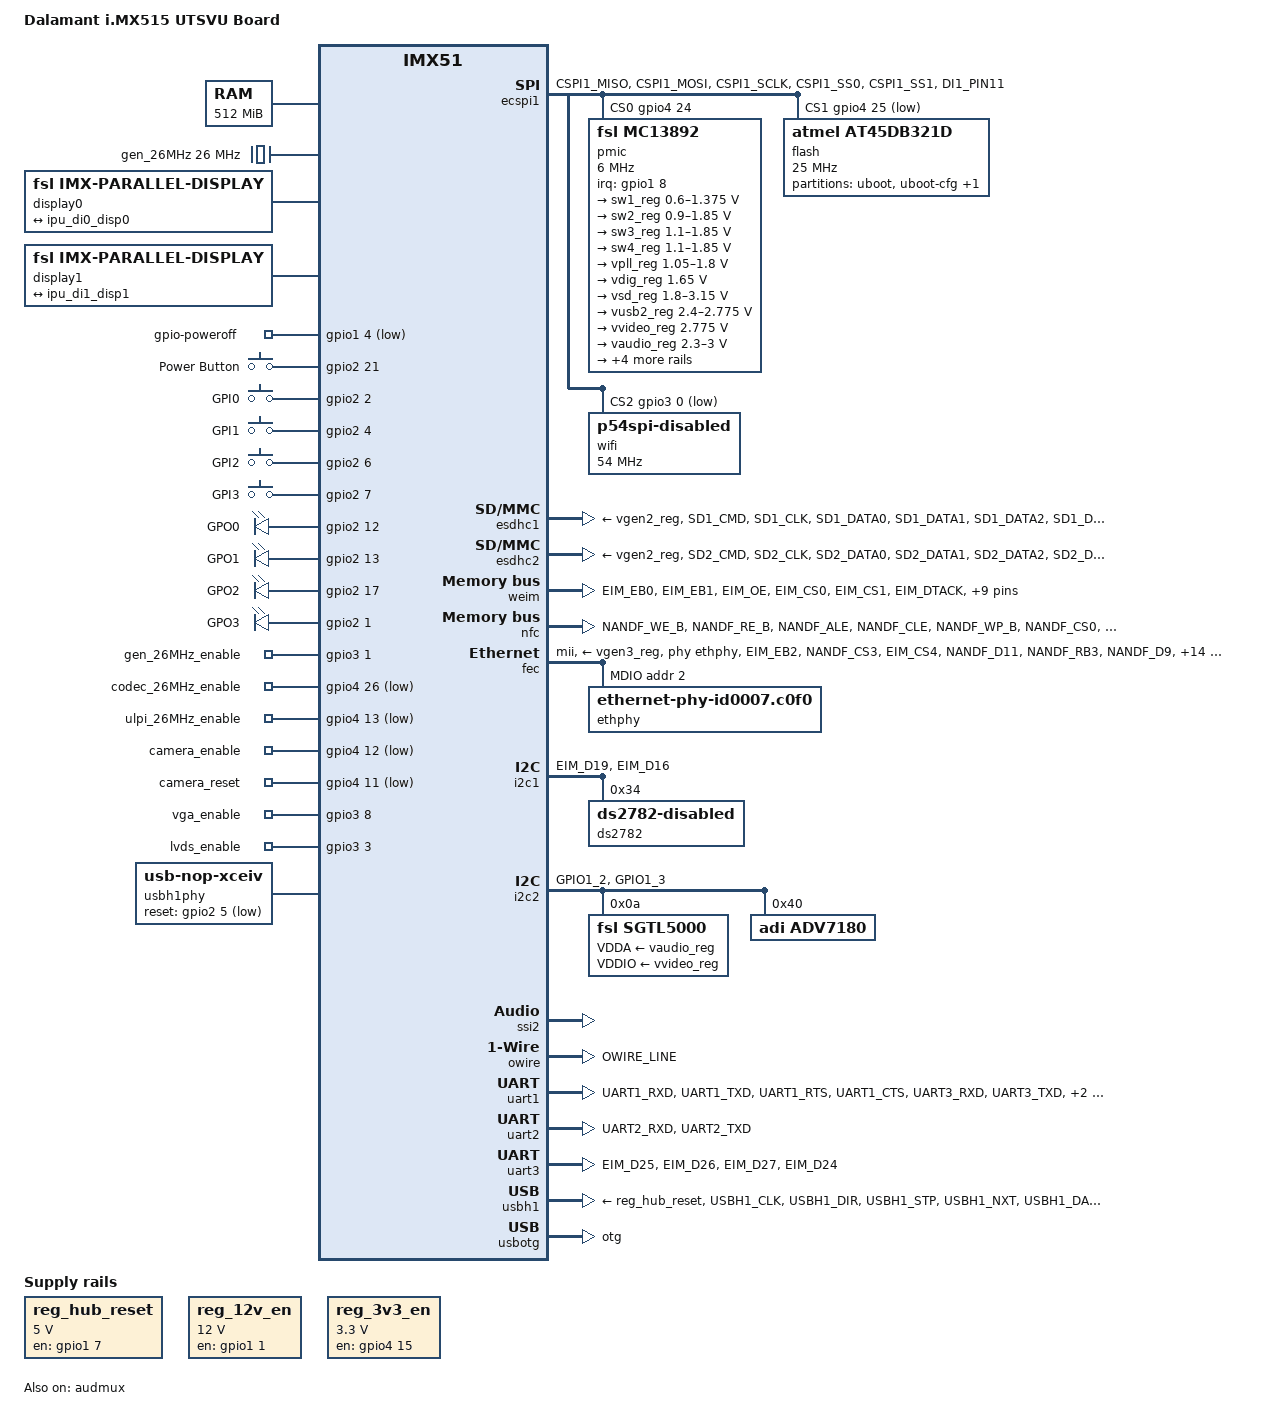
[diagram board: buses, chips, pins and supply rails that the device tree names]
/*
 *
 */

/dts-v1/;
#include "imx51.dtsi"
#include <dt-bindings/sound/fsl-imx-audmux.h>

/ {
	model = "Dalamant i.MX515 UTSVU Board";
	compatible = "fsl,imx51-utsvu", "fsl,imx51";

	/* Board critical gpio pins config */
	pinctrl-names = "default";
	pinctrl-0 = <&pinctrl_brd_ctrl>;

	chosen {
		bootargs = "
console=tty0 console=ttymxc0,115200 bootdelay=1 root=/dev/nfs rw
ip=192.168.5.101:192.168.5.222:192.168.5.222:255.255.255.0:imx51dev:eth0:off
nfsroot=192.168.5.222:/cimc/root/armv7a-neon/exports,v3,tcp";
		stdout-path = &uart1;
	};

	memory {
		reg = <0x90000000 0x20000000>;
	};

	clocks {
		/* I.MX515 CPU Clock sources */
		ckil  { clock-frequency = <32768>; };
		ckih1 { clock-frequency = <0>; };
		ckih2 { clock-frequency = <0>; };
		osc   { clock-frequency = <24000000>; };

		/* Board clock sources */
		gen_26MHz: gen_26MHz {
			compatible = "fixed-clock";
			#clock-cells = <0>;
			clock-output-names = "gen_26MHz";
			clock-frequency = <26000000>;
		};
	};

	display0: display@di0 { /* LVDS */
		compatible = "fsl,imx-parallel-display";
		interface-pix-fmt = "rgb24";
		pinctrl-names = "default";
		pinctrl-0 = <&pinctrl_ipu_disp1>;
		status = "okay"; // "disabled";

		display-timings {
			native-mode = <&mfpi>;
			/* Timing from 7.1 in datasheet */
			mfpi: lvds_wsvga { /* WSVGA: 1024x600@75Hz */
				/* clock-frequency = <66500000>; 92Hz - not in [60Hz...80Hz] range */
				clock-frequency = <44333333>; /* 61Hz - 53.99MHz reqired for typical 75Hz */
				hsync-len = <32>;	hfront-porch = <48>;	hactive = <1024>;	hback-porch = <80>;
				hsync-active = <0>;	/* negative, whole line 1184 */
				vsync-len = <1>;	vfront-porch = <3>;	vactive = <600>;	vback-porch = <4>;
				vsync-active = <0>;	/* negative, whole frame 608 */
				de-active = <0>;	pixelclk-active = <1>;
			};
		};

		port {
			display0_in: endpoint {
				remote-endpoint = <&ipu_di0_disp0>;
			};
		};
	};

	display1: display@di1 { /* VGA */
		compatible = "fsl,imx-parallel-display";
		interface-pix-fmt = "rgb565";
		pinctrl-names = "default";
		pinctrl-0 = <&pinctrl_ipu_disp2>;
		status = "okay"; // "disabled";

		display-timings {
			native-mode = <&sxga75>;
			/* Timing from http://wwww.tinyvga.com/vga-timing */
			vga60: vdac_vga60 { /* VGA: 640x480@63.5Hz 31.6KHz - checked for work on CRT and LCD monitors */
				clock-frequency = <26600000>; /* 25.175MHz required */
				hsync-len = <64>;	hfront-porch = <16>;	hactive = <640>;	hback-porch = <120>;
				hsync-active = <0>;	/* negative, whole line 840 */
				vsync-len = <3>;	vfront-porch = <2>;	vactive = <480>;	vback-porch = <15>;
				vsync-active = <0>;	/* negative, whole frame 500 */
				de-active = <0>;	pixelclk-active = <1>;
			};
			vga75: vdac_vga75 { /* VGA: 640x480@79.3Hz 39.6KHz - checked for work on CRT only */
				clock-frequency = <33250000>; /* 31.5MHz required */
				hsync-len = <64>;	hfront-porch = <16>;	hactive = <640>;	hback-porch = <120>;
				hsync-active = <0>;	/* negative, whole line 840 */
				vsync-len = <3>;	vfront-porch = <2>;	vactive = <480>;	vback-porch = <15>;
				vsync-active = <0>;	/* negative, whole frame 500 */
				de-active = <0>;	pixelclk-active = <1>;
			};
			svga56: vdac_svga56 { /* SVGA: 800x600@52.0Hz 32.4KHz - checked for work on CRT and LCD monitors */
				clock-frequency = <33250000>; /* 36MHz required */
				hsync-len = <72>;	hfront-porch = <24>;	hactive = <800>;	hback-porch = <128>;
				hsync-active = <1>;	/* positive, whole line 1024 */
				vsync-len = <2>;	vfront-porch = <2>;	vactive = <600>;	vback-porch = <21>;
				vsync-active = <1>;	/* positive, whole frame 636 */
				de-active = <0>;	pixelclk-active = <1>;
			};
			svga100: vdac_svga100 { /* SVGA: 800x600@97.8Hz 62.0KHz - checked for work on CRT only */
				clock-frequency = <66500000>; /* 68.18MHz required */
				hsync-len = <88>;	hfront-porch = <48>;	hactive = <800>;	hback-porch = <136>;
				hsync-active = <1>;	/* positive, whole line 1072 */
				vsync-len = <3>;	vfront-porch = <2>;	vactive = <600>;	vback-porch = <31>;
				vsync-active = <1>;	/* positive, whole frame 636 */
				de-active = <0>;	pixelclk-active = <1>;
			};
			xga60: vdac_xga60 { /* XGA: 1024x768@61.5Hz 49.4KHz - checked for work on CRT and LCD monitors */
				clock-frequency = <66500000>; /* 65MHz required */
				hsync-len = <136>;	hfront-porch = <24>;	hactive = <1024>;	hback-porch = <160>;
				hsync-active = <0>;	/* negative, whole line 1344 */
				vsync-len = <6>;	vfront-porch = <3>;	vactive = <768>;	vback-porch = <29>;
				vsync-active = <0>;	/* negative, whole frame 806 */
				de-active = <0>;	pixelclk-active = <1>;
			};
			xga70: vdac_xga70 { /* XGA: 1024x768@62.2Hz 50.0KHz - checked for work on CRT and LCD monitors */
				clock-frequency = <66500000>; /* 75MHz required */
				hsync-len = <136>;	hfront-porch = <24>;	hactive = <1024>;	hback-porch = <144>;
				hsync-active = <0>;	/* negative, whole line 1328 */
				vsync-len = <6>;	vfront-porch = <3>;	vactive = <768>;	vback-porch = <29>;
				vsync-active = <0>;	/* negative, whole frame 806 */
				de-active = <0>;	pixelclk-active = <1>;
			};
			sxga60: vdac_sxga60 { /* SXGA: 1280x1024@74.1Hz 78.8KHz - checked for work on CRT and LCD monitors */
				clock-frequency = <133000000>; /* 108MHz required */
				hsync-len = <112>;	hfront-porch = <48>;	hactive = <1280>;	hback-porch = <248>;
				hsync-active = <1>;	/* positive, whole line 1688 */
				vsync-len = <3>;	vfront-porch = <2>;	vactive = <1024>;	vback-porch = <37>;
				vsync-active = <1>;	/* positive, whole frame 1066 */
				de-active = <0>;	pixelclk-active = <1>;
			};
			sxga75: vdac_sxga75 { /* SXGA: 1280x1024@74.1Hz 78.8KHz - checked for work on CRT and LCD monitors */
				clock-frequency = <133000000>; /* 135Mhz required */
				hsync-len = <144>;	hfront-porch = <16>;	hactive = <1280>;	hback-porch = <248>;
				hsync-active = <1>;	/* positive, whole line 1688 */
				vsync-len = <3>;	vfront-porch = <2>;	vactive = <1024>;	vback-porch = <37>;
				vsync-active = <1>;	/* positive, whole frame 1066 */
				de-active = <0>;	pixelclk-active = <1>;
			};
			sxgap60: vdac_sxgap60 { /* SXGA+: 1400x1050@65.2Hz 70.7KHz - checked for work on CRT and LCD monitors */
				clock-frequency = <133000000>; /* 122.61Mhz required */
				hsync-len = <152>;	hfront-porch = <88>;	hactive = <1400>;	hback-porch = <240>;
				hsync-active = <0>;	/* negative, whole line 1880 */
				vsync-len = <3>;	vfront-porch = <2>;	vactive = <1050>;	vback-porch = <32>;
				vsync-active = <1>;	/* positive, whole frame 1066 */
				de-active = <0>;	pixelclk-active = <1>;
			};
			sxgap72: vdac_sxgap72 { /* SXGA+: 1400x1050@64.3Hz 70.2KHz - checked for work on CRT and LCD monitors */
				clock-frequency = <133000000>; /* 149.34Mhz required */
				hsync-len = <152>;	hfront-porch = <96>;	hactive = <1400>;	hback-porch = <248>;
				hsync-active = <0>;	/* negative, whole line 1896 */
				vsync-len = <3>;	vfront-porch = <2>;	vactive = <1050>;	vback-porch = <39>;
				vsync-active = <1>;	/* positive, whole frame 1066 */
				de-active = <0>;	pixelclk-active = <1>;
			};
			uxga60: vdac_uxga60 { /* UXGA: 1600x1200@49.3Hz 61.6KHz - checked for work on CRT and LCD monitors */
				clock-frequency = <133000000>; /* 162Mhz required */
				hsync-len = <192>;	hfront-porch = <64>;	hactive = <1600>;	hback-porch = <304>;
				hsync-active = <1>;	/* positive, whole line 1896 */
				vsync-len = <3>;	vfront-porch = <2>;	vactive = <1200>;	vback-porch = <45>;
				vsync-active = <1>;	/* positive, whole frame 1066 */
				de-active = <0>;	pixelclk-active = <1>;
			};
		};

		port {
			display1_in: endpoint {
				remote-endpoint = <&ipu_di1_disp1>;
			};
		};
	};

	gpio-poweroff {
		compatible = "gpio-poweroff";
		pinctrl-0 = <&pinctrl_gpio_poweroff>;
		pinctrl-names = "default";
		gpios = <&gpio1 4 GPIO_ACTIVE_LOW>;
	};


	gpio-keys {
		compatible = "gpio-keys";
		pinctrl-names = "default";
		pinctrl-0 = <&pinctrl_gpio_keys>;

		power {
			label = "Power Button";
			gpios = <&gpio2 21 GPIO_ACTIVE_HIGH>;
			linux,code = <KEY_POWER>;
			wakeup-source;
		};

		/* General purpose inputs */
		gpi0 {
			label = "GPI0";
			gpios = <&gpio2 2 GPIO_ACTIVE_HIGH>;
			linux,code = <KEY_POWER>;
		};
		gpi1 {
			label = "GPI1";
			gpios = <&gpio2 4 GPIO_ACTIVE_HIGH>;
			linux,code = <KEY_POWER>;
		};
		gpi2 {
			label = "GPI2";
			gpios = <&gpio2 6 GPIO_ACTIVE_HIGH>;
			linux,code = <KEY_POWER>;
		};
		gpi3 {
			label = "GPI3";
			gpios = <&gpio2 7 GPIO_ACTIVE_HIGH>;
			linux,code = <KEY_POWER>;
		};
	};

	leds {
		compatible = "gpio-leds";
		pinctrl-names = "default";
		pinctrl-0 = <&pinctrl_gpio_leds>;

		/* General purpose outputs */
		gpo0 {
			label = "GPO0";
			gpios = <&gpio2 12 GPIO_ACTIVE_HIGH>;
		};
		gpo1 {
			label = "GPO1";
			gpios = <&gpio2 13 GPIO_ACTIVE_HIGH>;
		};
		gpo2 {
			label = "GPO2";
			gpios = <&gpio2 17 GPIO_ACTIVE_HIGH>;
		};
		gpo3 {
			label = "GPO3";
			gpios = <&gpio2 1 GPIO_ACTIVE_HIGH>;
		};

		/* 26MHz clock domain */
		gen-26MHz-en {
			label = "gen_26MHz_enable";
			gpios = <&gpio3 1 GPIO_ACTIVE_HIGH>;
			default-state = "on";
		};
		codec-clk-en {
			label = "codec_26MHz_enable";
			gpios = <&gpio4 26 GPIO_ACTIVE_LOW>;
			default-state = "on";
		};
		ulpi-clk-en {
			label = "ulpi_26MHz_enable";
			gpios = <&gpio4 13 GPIO_ACTIVE_LOW>;
			default-state = "on";
		};

		/* Power down and reset switches */
		cam-en {
			label = "camera_enable";
			gpios = <&gpio4 12 GPIO_ACTIVE_LOW>;
			default-state = "on";
		};
		cam-rst {
			label = "camera_reset";
			gpios = <&gpio4 11 GPIO_ACTIVE_LOW>;
			default-state = "on";
		};
		vga-en {
			label = "vga_enable";
			gpios = <&gpio3 8 GPIO_ACTIVE_HIGH>;
			default-state = "on";
		};
		lvds-en {
			label = "lvds_enable";
			gpios = <&gpio3 3 GPIO_ACTIVE_HIGH>;
			default-state = "on";
		};
	};

	usbphy { /* USB ULPI interface */
		#address-cells = <1>;
		#size-cells = <0>;
		compatible = "simple-bus";

		usbh1phy: usbh1phy@0 { /* USB PHY chip*/
			compatible = "usb-nop-xceiv";
			pinctrl-names = "default";
			pinctrl-0 = <&pinctrl_usbh1reg>;
			reg = <0>;
			clocks = <&gen_26MHz>;
			clock-names = "gen_26MHz";
			reset-gpios = <&gpio2 5 GPIO_ACTIVE_LOW>;
		};
	};

	regulators {
		compatible = "simple-bus";
		#address-cells = <1>;
		#size-cells = <0>;

		reg_hub_reset: regulator@0 { /* USB PHY reset */
			compatible = "regulator-fixed";
			pinctrl-names = "default";
			pinctrl-0 = <&pinctrl_usbotgreg>;
			regulator-name = "hub_reset";
			regulator-min-microvolt = <5000000>;
			regulator-max-microvolt = <5000000>;
			gpio = <&gpio1 7 GPIO_ACTIVE_HIGH>;
			enable-active-high;
		};

		reg_12v_en: sw_12v_en@1 { /* 12V enabler */
			compatible = "regulator-fixed";
			regulator-name = "12V";
			regulator-min-microvolt = <12000000>;
			regulator-max-microvolt = <12000000>;
			gpio = <&gpio1 1 GPIO_ACTIVE_HIGH>;
			enable-active-high;
			regulator-always-on;
		};

		reg_3v3_en: sw_3v3_en@2 { /* 3,3V enabler */
			compatible = "regulator-fixed";
			regulator-name = "3,3V";
			regulator-min-microvolt = <3300000>;
			regulator-max-microvolt = <3300000>;
			gpio = <&gpio4 15 GPIO_ACTIVE_HIGH>;
			enable-active-high;
			regulator-always-on;
		};
	};

	sound {
		pinctrl-names = "default";
		pinctrl-0 = <&pinctrl_sound>;
		compatible = "fsl,imx51-utsvu-sgtl5000",
			     "fsl,imx-audio-sgtl5000";
		model = "imx51-utsvu-sgtl5000";
		ssi-controller = <&ssi2>;
		audio-codec = <&sgtl5000>;
		audio-routing =
			"MIC_IN", "Mic Jack",
			"Mic Jack", "Mic Bias",
			"Headphone Jack", "HP_OUT";
		mux-int-port = <2>;
		mux-ext-port = <3>;
	};
};

&ipu_di0_disp0 {
	remote-endpoint = <&display0_in>;
};

&ipu_di1_disp1 {
	remote-endpoint = <&display1_in>;
};

&audmux {
	status = "okay";
};

&ecspi1 { /* Serial Peripherial Interface - Base Board */
	pinctrl-names = "default";
	pinctrl-0 = <&pinctrl_ecspi1>;
	fsl,spi-num-chipselects = <3>;
	cs-gpios =	<&gpio4 24 GPIO_ACTIVE_HIGH>, /* PMIC */
			<&gpio4 25 GPIO_ACTIVE_LOW>,  /* Codec */
			<&gpio3 0  GPIO_ACTIVE_LOW>;  /* Extension board */
	status = "okay";

	pmic: mc13892@0 { /* PMIC */
		compatible = "fsl,mc13892";
		pinctrl-names = "default";
		pinctrl-0 = <&pinctrl_pmic>;
		spi-max-frequency = <6000000>;
		spi-cs-high;
		reg = <0>;
		interrupt-parent = <&gpio1>;
		interrupts = <8 IRQ_TYPE_LEVEL_HIGH>;
		fsl,mc13xxx-uses-rtc;

		regulators {
			sw1_reg: sw1 {
				regulator-min-microvolt = <600000>;
				regulator-max-microvolt = <1375000>;
				regulator-boot-on;
				regulator-always-on;
			};

			sw2_reg: sw2 {
				regulator-min-microvolt = <900000>;
				regulator-max-microvolt = <1850000>;
				regulator-boot-on;
				regulator-always-on;
			};

			sw3_reg: sw3 {
				regulator-min-microvolt = <1100000>;
				regulator-max-microvolt = <1850000>;
				regulator-boot-on;
				regulator-always-on;
			};

			sw4_reg: sw4 {
				regulator-min-microvolt = <1100000>;
				regulator-max-microvolt = <1850000>;
				regulator-boot-on;
				regulator-always-on;
			};

			vpll_reg: vpll {
				regulator-min-microvolt = <1050000>;
				regulator-max-microvolt = <1800000>;
				regulator-boot-on;
				regulator-always-on;
			};

			vdig_reg: vdig {
				regulator-min-microvolt = <1650000>;
				regulator-max-microvolt = <1650000>;
				regulator-boot-on;
			};

			vsd_reg: vsd {
				regulator-min-microvolt = <1800000>;
				regulator-max-microvolt = <3150000>;
			};

			vusb2_reg: vusb2 {
				regulator-min-microvolt = <2400000>;
				regulator-max-microvolt = <2775000>;
				regulator-boot-on;
				regulator-always-on;
			};

			vvideo_reg: vvideo {
				regulator-min-microvolt = <2775000>;
				regulator-max-microvolt = <2775000>;
			};

			vaudio_reg: vaudio {
				regulator-min-microvolt = <2300000>;
				regulator-max-microvolt = <3000000>;
			};

			vcam_reg: vcam {
				regulator-min-microvolt = <2500000>;
				regulator-max-microvolt = <3000000>;
			};

			vgen1_reg: vgen1 {
				regulator-min-microvolt = <1200000>;
				regulator-max-microvolt = <1200000>;
			};

			vgen2_reg: vgen2 {
				regulator-min-microvolt = <1200000>;
				regulator-max-microvolt = <3150000>;
				regulator-always-on;
			};

			vgen3_reg: vgen3 {
				regulator-min-microvolt = <1800000>;
				regulator-max-microvolt = <2900000>;
				regulator-always-on;
			};
		};
	};

	flash: at45db321d@1 { /* Serial Flash */
		#address-cells = <1>;
		#size-cells = <1>;
		compatible = "atmel,at45db321d", "atmel,at45", "atmel,dataflash";
		spi-max-frequency = <25000000>;
		reg = <1>;

		/* Serial flash partition table */
		partition@0 {
			label = "uboot";
			reg = <0x0 0xC0000>;
			read-only;
		};
		partition@C0000 {
			label = "uboot-cfg";
			reg = <0xC0000 0x40000>;
			read-only;
		};

		partition@100000 {
			label = "sflash-reserved";
			reg = <0x100000 0x300000>;
		};
	};

	/* Extension board SPI device */
	wifi: stlc4560@2 {
		#address-cells = <1>;
		#size-cells = <1>;
		compatible = "p54spi-disabled"; /* ToDo: patch driver */
		spi-max-frequency = <54000000>;
		reg = <2>;
	};
};

&esdhc1 { /* Base board microSD card */
	pinctrl-names = "default";
	pinctrl-0 = <&pinctrl_esdhc1>;
	vmmc-supply = <&vgen2_reg>;
	cd-gpios = <&gpio1 0 GPIO_ACTIVE_LOW>;
	status = "okay";
};

&esdhc2 { /* Extension SDIO interface */
	pinctrl-names = "default";
	pinctrl-0 = <&pinctrl_esdhc2>;
	vmmc-supply = <&vgen2_reg>;
	cd-gpios = <&gpio1 6 GPIO_ACTIVE_LOW>;
	wp-gpios = <&gpio1 5 GPIO_ACTIVE_LOW>;
	status = "okay";
};

&weim { /* External memory interface */
	pinctrl-names = "default";
	pinctrl-0 = <&pinctrl_weim>;
	status = "okay";
};

&nfc { /* NAND Flash controller */
	pinctrl-names = "default";
	pinctrl-0 = <&pinctrl_nfc>;
	nand-bus-width = <8>;
	nand-on-flash-bbt;
	nand-ecc-mode = "hw";
	status = "okay";

	/* NAND Partition table */
	partition@0 {
		label = "resque";
		reg = <0x0 0x03200000>;
	};
	partition@3200000 {
		label = "restore";
		reg = <0x03200000 0x1c200000>;
	};

	partition@1f400000 {
		label = "nand-reserved";
		reg = <0x1f400000 0x00c00000>;
	};

};

&fec { /* Fast ethernet MAC/PHY */
	/* GPIO multiplexing and configuration */
	pinctrl-names = "default";
	pinctrl-0 = <&pinctrl_fec>;
	/* Voltage and resets */
	phy-supply = <&vgen3_reg>;
	phy-reset-gpios = <&gpio2 14 GPIO_ACTIVE_LOW>;
	phy-reset-duration = <100>;
	/* Ethernet PHY LAN8710 on MII interface */
	phy-mode = "mii";
	phy-handle = <&ethphy>;
	status = "okay";
	mdio {
		#address-cells = <1>;
		#size-cells = <0>;

		ethphy: ethernet-phy@02 {
			compatible = "ethernet-phy-id0007.c0f0", "ethernet-phy-ieee802.3-c22";
			reg = <0x02>;
			max-speed = <100>;
		};
	};
};

&i2c1 {
	/* battery */
	pinctrl-names = "default";
	pinctrl-0 = <&pinctrl_i2c1>;
	status = "okay";
	
	ds2782: battery@0x34 {
	    compatible = "ds2782-disabled"; /* FixMe: disabled - NO connect on dev board */
	    reg = <0x34>;
	};
};

&i2c2 {
	/* codec, video ADC */
	pinctrl-names = "default";
	pinctrl-0 = <&pinctrl_i2c2>;
	status = "okay";

	sgtl5000: codec@0a {
		compatible = "fsl,sgtl5000";
		reg = <0x0a>;
		clocks = <&gen_26MHz>; /* FixMe: clock tree or another clock control */
		clock-names = "gen_26MHz";
		micbias-resistor-k-ohms = <2>;
		micbias-voltage-m-volts = <2250>;
		VDDA-supply = <&vaudio_reg>;
		VDDIO-supply = <&vvideo_reg>;
	};
	
	adv7180: capture@40 {
		/* FixMe: pinctrl must be not here! */
		pinctrl-names = "default";
		pinctrl-0 = <&pinctrl_cci1>; 
		compatible = "adi,adv7180";
		reg = <0x40>; /* ALSB on GROUNG plane */
		/* remote = <&CSI0>; FixMe: later... */

		port {
			adv7180_csi:endpoint {
				bus-width = <12>;
				/* remote-endpoint = <&CSI0_ep1>; FixMe: later... */
			};
		};
	};
};

&sdma {
	status = "okay";
};

&ssi2 {
	status = "okay";
};

&owire { /* Maxim/Dalas One-Wire */
	pinctrl-names = "default";
	pinctrl-0 = <&pinctrl_owire>;
	status = "okay";
};

&uart1 { /* Full control uart */
	pinctrl-names = "default";
	pinctrl-0 = <&pinctrl_uart1>;
	fsl,dte-mode; /* for full hardware control */
	status = "okay";
};

&uart2 { /* Only TxD/RxD uart */
	pinctrl-names = "default";
	pinctrl-0 = <&pinctrl_uart2>;
	status = "okay";
};

&uart3 { /* 4-Wire uart */
	pinctrl-names = "default";
	pinctrl-0 = <&pinctrl_uart3>;
	fsl,uart-has-rtscts; /* for RTS/CTS control */
	status = "okay";
};

&usbh1 {
	pinctrl-names = "default";
	pinctrl-0 = <&pinctrl_usbh1>;
	vbus-supply = <&reg_hub_reset>;
	fsl,usbphy = <&usbh1phy>;
	phy_type = "ulpi";
	status = "okay";
};

&usbotg {
	dr_mode = "otg";
	disable-over-current;
	phy_type = "utmi_wide";
	status = "okay";
};

/* Use to set PAD control as sum off:
 *
 * NO_PAD_CTRL			0x80000000  No need to configure
 * PAD_CTL_SION			0x40000000  Force input path
 * PAD_CTL_DVS			0x00002000 High voltage input pin
 * PAD_CTL_HYS			0x00000100 Hyteresic on input enable
 *
 * PAD_CTL_PKE			0x00000080 No change pin pull
 * PAD_CTL_PUE			0x00000040 Pullup/pulldown enable
 * PAD_CTL_PUS_100K_DOWN	0x000000C0 100K pulldown (PKE+PUE)
 * PAD_CTL_PUS_47K_UP		0x000000D0 47K pullup (PUE + PKE)
 * PAD_CTL_PUS_100K_UP		0x000000E0 100K pullup (PUE + PKE)
 * PAD_CTL_PUS_22K_UP		0x000000F0 22K pullup (PUE + PKE)
 *
 * PAD_CTL_ODE			0x00000008 Open drive
 *
 * PAD_CTL_DSE_MED		0x00000002 Drive med
 * PAD_CTL_DSE_HIGH		0x00000004 Drive high
 * PAD_CTL_DSE_MAX		0x00000006 Drive max
 *
 * PAD_CTL_SRE_FAST		0x00000001 High freq IO
 */

&iomuxc {
	imx51-utsvu {
		pinctrl_brd_ctrl: brdctrlreg { /* Board critial gpios */
			fsl,pins = <
				/* power control */
				MX51_PAD_GPIO1_1__GPIO1_1		0x000000E7	/* sw_12v_en */
				MX51_PAD_CSI2_PIXCLK__GPIO4_15		0x000000E7	/* sw_3v3_en */
			>;
		};

		pinctrl_ipu_disp1: ipudisp1grp { /* LVDS adapter */
			fsl,pins = <
				MX51_PAD_DISP1_DAT0__DISP1_DAT0		0x80000000
				MX51_PAD_DISP1_DAT1__DISP1_DAT1		0x80000000
				MX51_PAD_DISP1_DAT2__DISP1_DAT2		0x80000000
				MX51_PAD_DISP1_DAT3__DISP1_DAT3		0x80000000
				MX51_PAD_DISP1_DAT4__DISP1_DAT4		0x80000000
				MX51_PAD_DISP1_DAT5__DISP1_DAT5		0x80000000
				MX51_PAD_DISP1_DAT6__DISP1_DAT6		0x80000000
				MX51_PAD_DISP1_DAT7__DISP1_DAT7		0x80000000
				MX51_PAD_DISP1_DAT8__DISP1_DAT8		0x80000000
				MX51_PAD_DISP1_DAT9__DISP1_DAT9		0x80000000
				MX51_PAD_DISP1_DAT10__DISP1_DAT10	0x80000000
				MX51_PAD_DISP1_DAT11__DISP1_DAT11	0x80000000
				MX51_PAD_DISP1_DAT12__DISP1_DAT12	0x80000000
				MX51_PAD_DISP1_DAT13__DISP1_DAT13	0x80000000
				MX51_PAD_DISP1_DAT14__DISP1_DAT14	0x80000000
				MX51_PAD_DISP1_DAT15__DISP1_DAT15	0x80000000
				MX51_PAD_DISP1_DAT16__DISP1_DAT16	0x80000000
				MX51_PAD_DISP1_DAT17__DISP1_DAT17	0x80000000
				MX51_PAD_DISP1_DAT18__DISP1_DAT18	0x80000000
				MX51_PAD_DISP1_DAT19__DISP1_DAT19	0x80000000
				MX51_PAD_DISP1_DAT20__DISP1_DAT20	0x80000000
				MX51_PAD_DISP1_DAT21__DISP1_DAT21	0x80000000
				MX51_PAD_DISP1_DAT22__DISP1_DAT22	0x80000000
				MX51_PAD_DISP1_DAT23__DISP1_DAT23	0x80000000
				MX51_PAD_DI1_PIN2__DI1_PIN2		0x80000000	/* HSYNC */
				MX51_PAD_DI1_PIN3__DI1_PIN3		0x80000000	/* VSYNC */
			/*	MX51_PAD_DI1_DISP_CLK__DI1_DISP_CLK	0x80000000 J18 - Where ??? */
			/*	MX51_PAD_DI1_PIN15__DI1_PIN_15		0x80000000 H20 - Where ??? */
			>;
		};

		pinctrl_ipu_disp2: ipudisp2grp { /* VGA adapter */
			fsl,pins = <
				MX51_PAD_DISP2_DAT0__DISP2_DAT0		0x80000000
				MX51_PAD_DISP2_DAT1__DISP2_DAT1		0x80000000
				MX51_PAD_DISP2_DAT2__DISP2_DAT2		0x80000000
				MX51_PAD_DISP2_DAT3__DISP2_DAT3		0x80000000
				MX51_PAD_DISP2_DAT4__DISP2_DAT4		0x80000000
				MX51_PAD_DISP2_DAT5__DISP2_DAT5		0x80000000
				MX51_PAD_DISP2_DAT6__DISP2_DAT6		0x80000000
				MX51_PAD_DISP2_DAT7__DISP2_DAT7		0x80000000
				MX51_PAD_DISP2_DAT8__DISP2_DAT8		0x80000000
				MX51_PAD_DISP2_DAT9__DISP2_DAT9		0x80000000
				MX51_PAD_DISP2_DAT10__DISP2_DAT10	0x80000000
				MX51_PAD_DISP2_DAT11__DISP2_DAT11	0x80000000
				MX51_PAD_DISP2_DAT12__DISP2_DAT12	0x80000000
				MX51_PAD_DISP2_DAT13__DISP2_DAT13	0x80000000
				MX51_PAD_DISP2_DAT14__DISP2_DAT14	0x80000000
				MX51_PAD_DISP2_DAT15__DISP2_DAT15	0x80000000
				MX51_PAD_DI2_PIN2__DI2_PIN2		0x80000000	/* HSYNC */
				MX51_PAD_DI2_PIN3__DI2_PIN3		0x80000000	/* VSYNC */
				MX51_PAD_DI2_DISP_CLK__DI2_DISP_CLK	0x80000000	/* PCLK */
				MX51_PAD_DI_GP4__DI2_PIN15		0x80000000	/* DRDY */
			>;
		};

		pinctrl_cci1: csi1grp { /* CMOS camera interface - checked, unused */
			fsl,pins = <
				MX51_PAD_CSI1_D8__CSI1_D8		0x80000000
				MX51_PAD_CSI1_D9__CSI1_D9		0x80000000
				MX51_PAD_CSI1_D10__CSI1_D10		0x80000000
				MX51_PAD_CSI1_D11__CSI1_D11		0x80000000
				MX51_PAD_CSI1_D12__CSI1_D12		0x80000000
				MX51_PAD_CSI1_D13__CSI1_D13		0x80000000
				MX51_PAD_CSI1_D14__CSI1_D14		0x80000000
				MX51_PAD_CSI1_D15__CSI1_D15		0x80000000
				MX51_PAD_CSI1_D16__CSI1_D16		0x80000000
				MX51_PAD_CSI1_D17__CSI1_D17		0x80000000
				MX51_PAD_CSI1_D18__CSI1_D18		0x80000000
				MX51_PAD_CSI1_D19__CSI1_D19		0x80000000
				MX51_PAD_CSI1_VSYNC__CSI1_VSYNC		0x80000000
				MX51_PAD_CSI1_HSYNC__CSI1_HSYNC		0x80000000
				MX51_PAD_CSI1_PIXCLK__CSI1_PIXCLK	0x80000000
			>;
		};

		pinctrl_usbh1: usbh1grp { /* Universal Serial Bus PHY - checked (but STP???) */
			fsl,pins = <
				MX51_PAD_USBH1_CLK__USBH1_CLK		0x80000000
				MX51_PAD_USBH1_DIR__USBH1_DIR		0x80000000
				MX51_PAD_USBH1_STP__USBH1_STP		0x80000000	/* WTF!!! */
				MX51_PAD_USBH1_NXT__USBH1_NXT		0x80000000
				MX51_PAD_USBH1_DATA0__USBH1_DATA0	0x80000000
				MX51_PAD_USBH1_DATA1__USBH1_DATA1	0x80000000
				MX51_PAD_USBH1_DATA2__USBH1_DATA2	0x80000000
				MX51_PAD_USBH1_DATA3__USBH1_DATA3	0x80000000
				MX51_PAD_USBH1_DATA4__USBH1_DATA4	0x80000000
				MX51_PAD_USBH1_DATA5__USBH1_DATA5	0x80000000
				MX51_PAD_USBH1_DATA6__USBH1_DATA6	0x80000000
				MX51_PAD_USBH1_DATA7__USBH1_DATA7	0x80000000
			>;
		};

		pinctrl_usbh1reg: usbh1reggrp { /* USB PHY Reset - checked */
			fsl,pins = <
				MX51_PAD_EIM_D21__GPIO2_5		0x000000E7
			>;
		};

		pinctrl_usbotgreg: usbotgreggrp { /* USB HUB Reset - checked */
			fsl,pins = <
				MX51_PAD_GPIO1_7__GPIO1_7		0x000000E7
			>;
		};

		pinctrl_gpio_poweroff: gpiopoweroffgrp {
			fsl,pins = < /* Open Drain */
				MX51_PAD_GPIO1_4__GPIO1_4		0x400001ed
			>;
		};

		pinctrl_gpio_keys: gpiokeysgrp { /* Inputs */
			fsl,pins = <
				MX51_PAD_EIM_A27__GPIO2_21		0x000000E7	/* POWER BUTTON */
				MX51_PAD_EIM_D18__GPIO2_2		0x000000E7	/* GPI0 */
				MX51_PAD_EIM_D20__GPIO2_4		0x000000E7	/* GPI1 */
				MX51_PAD_EIM_D22__GPIO2_6		0x000000E7	/* GPI2 */
				MX51_PAD_EIM_D23__GPIO2_7		0x000000E7	/* GPI3 */
				/* ToDo: Move extension board inputs to specific devices */
				MX51_PAD_EIM_A25__GPIO2_19		0x000000E7	/* WL_IRQ */
				MX51_PAD_EIM_A26__GPIO2_20		0x000000E7	/* SPI_IRQ */
			>;
		};

		pinctrl_gpio_leds: gpioledsgrp { /* Outputs */
			fsl,pins = <
				MX51_PAD_EIM_A18__GPIO2_12		0x000000E7	/* GPO0 */
				MX51_PAD_EIM_A19__GPIO2_13		0x000000E7	/* GPO1 */
				MX51_PAD_EIM_A23__GPIO2_17		0x000000E7	/* GPO2 */
				MX51_PAD_EIM_D17__GPIO2_1		0x000000E7	/* GPO3 */
				/* Powersave switches */
				MX51_PAD_CSI2_D18__GPIO4_11		0x000000E7	/* cam_reset */
				MX51_PAD_CSI2_D19__GPIO4_12		0x000000E7	/* cam_en */
				MX51_PAD_DISPB2_SER_RS__GPIO3_8		0x000000E7	/* vga_en */
				MX51_PAD_DI1_D0_CS__GPIO3_3		0x000000E7	/* lvds_en */
				/* clocks control */
				MX51_PAD_DI1_PIN12__GPIO3_1		0x000000E7	/* osc_26m_en */
				MX51_PAD_CSI2_VSYNC__GPIO4_13		0x000000E7	/* usb_clk_en */
				MX51_PAD_CSPI1_RDY__GPIO4_26		0x000000E7	/* codec clock */
				/* ToDo: Move extension board ouputs to specific devices */
				MX51_PAD_EIM_A21__GPIO2_15		0x000000E7	/* BT_EN */
				MX51_PAD_EIM_A22__GPIO2_16		0x000000E7	/* WL_EN */
				MX51_PAD_EIM_A24__GPIO2_18		0x000000E7	/* SPI_RST */
			>;
		};

		pinctrl_sound: soundgrp { /* Serial Sound Interface - Checked */
			fsl,pins = <
				MX51_PAD_AUD3_BB_TXD__AUD3_TXD		0x80000000
				MX51_PAD_AUD3_BB_RXD__AUD3_RXD		0x80000000
				MX51_PAD_AUD3_BB_CK__AUD3_TXC		0x80000000
				MX51_PAD_AUD3_BB_FS__AUD3_TXFS		0x80000000
			>;
		};

		pinctrl_ecspi1: ecspi1grp { /* Serial Peripherial Interface - checked */
			fsl,pins = <
				MX51_PAD_CSPI1_MISO__ECSPI1_MISO	0x00000187
				MX51_PAD_CSPI1_MOSI__ECSPI1_MOSI	0x00000187
				MX51_PAD_CSPI1_SCLK__ECSPI1_SCLK	0x00000187
				MX51_PAD_CSPI1_SS0__GPIO4_24		0x00000087	/* PMIC */
				MX51_PAD_CSPI1_SS1__GPIO4_25		0x00000087	/* Serial Flash */
				MX51_PAD_DI1_PIN11__GPIO3_0		0x00000087	/* Extension board */
			>;
		};

		pinctrl_nfc: nfcgrp { /* NAND Flash Controller */
			fsl,pins = <
				MX51_PAD_NANDF_WE_B__NANDF_WE_B		0x80000000
				MX51_PAD_NANDF_RE_B__NANDF_RE_B		0x80000000
				MX51_PAD_NANDF_ALE__NANDF_ALE		0x80000000
				MX51_PAD_NANDF_CLE__NANDF_CLE		0x80000000
				MX51_PAD_NANDF_WP_B__NANDF_WP_B		0x80000000
				MX51_PAD_NANDF_CS0__NANDF_CS0		0x80000000
				MX51_PAD_NANDF_RB0__NANDF_RB0		0x80000000
#if 0 				/* Nand chip on CS1 not present on UTSVU board */
				MX51_PAD_NANDF_CS1__NANDF_CS1		0x80000000
				MX51_PAD_NANDF_RB1__NANDF_RB1		0x80000000
#endif
				MX51_PAD_NANDF_D0__NANDF_D0		0x80000000
				MX51_PAD_NANDF_D1__NANDF_D1		0x80000000
				MX51_PAD_NANDF_D2__NANDF_D2		0x80000000
				MX51_PAD_NANDF_D3__NANDF_D3		0x80000000
				MX51_PAD_NANDF_D4__NANDF_D4		0x80000000
				MX51_PAD_NANDF_D5__NANDF_D5		0x80000000
				MX51_PAD_NANDF_D6__NANDF_D6		0x80000000
				MX51_PAD_NANDF_D7__NANDF_D7		0x80000000
			>;
		};

		pinctrl_weim: weimgrp { /* External memory interface - checked */
			fsl,pins = <
				MX51_PAD_EIM_EB0__EIM_EB0		0x00000087
				MX51_PAD_EIM_EB1__EIM_EB1		0x00000087
				MX51_PAD_EIM_OE__EIM_OE			0x00000087
				MX51_PAD_EIM_CS0__EIM_CS0		0x00000087
				MX51_PAD_EIM_CS1__EIM_CS1		0x00000087
				MX51_PAD_EIM_DTACK__EIM_DTACK		0x00000087
			/*      MX51_PAD_EIM_RW__EIM_RW			0x00000087 - Where this pin ??? */
				MX51_PAD_EIM_LBA__EIM_LBA		0x00000087
				MX51_PAD_EIM_DA0__EIM_DA0		0x00000087
				MX51_PAD_EIM_DA1__EIM_DA1		0x00000087
				MX51_PAD_EIM_DA2__EIM_DA2		0x00000087
				MX51_PAD_EIM_DA3__EIM_DA3		0x00000087
				MX51_PAD_EIM_DA4__EIM_DA4		0x00000087
				MX51_PAD_EIM_DA5__EIM_DA5		0x00000087
				MX51_PAD_EIM_DA6__EIM_DA6		0x00000087
				MX51_PAD_EIM_DA7__EIM_DA7		0x00000087
#if 0 				/* This pins unused on UTSVU board */
				MX51_PAD_EIM_DA8__EIM_DA8		0x00000087 
				MX51_PAD_EIM_DA9__EIM_DA9		0x00000087
				MX51_PAD_EIM_DA10__EIM_DA10		0x00000087
				MX51_PAD_EIM_DA11__EIM_DA11		0x00000087
				MX51_PAD_EIM_DA12__EIM_DA12		0x00000087
				MX51_PAD_EIM_DA13__EIM_DA13		0x00000087
				MX51_PAD_EIM_DA14__EIM_DA14		0x00000087
				MX51_PAD_EIM_DA15__EIM_DA15		0x00000087
#endif
			>;
		};

		pinctrl_fec: fecgrp { /* Fast ethernet controller - checked */
			fsl,pins = <
				/* Management */
				MX51_PAD_EIM_EB2__FEC_MDIO		0x4000018E
				MX51_PAD_NANDF_CS3__FEC_MDC		0x4000018E
				/* Receive */
				MX51_PAD_EIM_CS4__FEC_RX_ER		0x80000000	/* Error while receive */
				MX51_PAD_NANDF_D11__FEC_RX_DV		0x00002187	/* RX Data valir */
				MX51_PAD_NANDF_RB3__FEC_RX_CLK		0x00002187	/* RX clock */
				MX51_PAD_NANDF_D9__FEC_RDATA0		0x80000000
				MX51_PAD_EIM_EB3__FEC_RDATA1		0x00000187
				MX51_PAD_EIM_CS2__FEC_RDATA2		0x00000187
				MX51_PAD_EIM_CS3__FEC_RDATA3		0x00000187
				/* Transmit */
				MX51_PAD_NANDF_CS7__FEC_TX_EN		0x80000000	/* Data present */
				MX51_PAD_NANDF_RDY_INT__FEC_TX_CLK	0x80000000	/* TX clock */
				MX51_PAD_NANDF_D8__FEC_TDATA0		0x80000000
				MX51_PAD_NANDF_CS4__FEC_TDATA1		0x80000000
				MX51_PAD_NANDF_CS5__FEC_TDATA2		0x80000000
				MX51_PAD_NANDF_CS6__FEC_TDATA3		0x80000000
				/* Control */
				MX51_PAD_NANDF_CS2__FEC_TX_ER		0x80000000	/* 100M transfer error */
				MX51_PAD_EIM_CS5__FEC_CRS		0x80000000	/* Carrier sense */
				MX51_PAD_NANDF_RB2__FEC_COL		0x00002187	/* Collision detect */
				/* Phy Reset */
				MX51_PAD_EIM_A20__GPIO2_14		0x00000087
			>;
		};

		pinctrl_esdhc1: esdhc1grp { /* Base board microSD */
			fsl,pins = <
				MX51_PAD_SD1_CMD__SD1_CMD		0x400020d5
				MX51_PAD_SD1_CLK__SD1_CLK		0x000020d5
				MX51_PAD_SD1_DATA0__SD1_DATA0		0x000020d5
				MX51_PAD_SD1_DATA1__SD1_DATA1		0x000020d5
				MX51_PAD_SD1_DATA2__SD1_DATA2		0x000020d5
				MX51_PAD_SD1_DATA3__SD1_DATA3		0x000020d5
				MX51_PAD_GPIO1_0__GPIO1_0		0x40000100	/* CD */
				/* no WP gpio used */
			>;
		};

		pinctrl_esdhc2: esdhc2grp { /* Extension board SDIO */
			fsl,pins = <
				MX51_PAD_SD2_CMD__SD2_CMD		0x400020d5
				MX51_PAD_SD2_CLK__SD2_CLK		0x000020d5
				MX51_PAD_SD2_DATA0__SD2_DATA0		0x000020d5
				MX51_PAD_SD2_DATA1__SD2_DATA1		0x000020d5
				MX51_PAD_SD2_DATA2__SD2_DATA2		0x000020d5
				MX51_PAD_SD2_DATA3__SD2_DATA3		0x000020d5
				MX51_PAD_GPIO1_6__GPIO1_6		0x40000100	/* CD */
				MX51_PAD_GPIO1_5__GPIO1_5		0x40000100	/* WP */
			>;
		};

		pinctrl_pmic: pmicgrp { /* PMIC IRQ  */
			fsl,pins = <
				MX51_PAD_GPIO1_8__GPIO1_8		0x000001e6	/* IRQ */
			>;
		};

		pinctrl_owire: owiregrp { /* Maxim/Dalas OneWire */
			fsl,pins = <
				MX51_PAD_OWIRE_LINE__OWIRE_LINE		0x4000018E
			>;
		};

		pinctrl_i2c1: i2c1grp { /* I2C1 */
			fsl,pins = <
				MX51_PAD_EIM_D19__I2C1_SCL		0x4000018E
				MX51_PAD_EIM_D16__I2C1_SDA		0x4000018E
			>;
		};

		pinctrl_i2c2: i2c2grp { /* I2C2 */
			fsl,pins = <
				MX51_PAD_GPIO1_2__I2C2_SCL		0x4000018E
				MX51_PAD_GPIO1_3__I2C2_SDA		0x4000018E
			>;
		};

/*
 * We need fix RXD and RTS pins on I.MX515 - see imx51-pinfunc.h for detail 
 */
#define MX51_PAD_UART1_RXD__UART1_RXD_FIXED		0x228 0x618 0x9e4 0x0 0x1
#define MX51_PAD_UART1_RTS__UART1_RTS_FIXED		0x230 0x620 0x9e0 0x0 0x1

		pinctrl_uart1: uart1grp { /* Full control UART1 */
			fsl,pins = <
				MX51_PAD_UART1_RXD__UART1_RXD_FIXED	0x00002185
				MX51_PAD_UART1_TXD__UART1_TXD		0x00002185
				MX51_PAD_UART1_RTS__UART1_RTS_FIXED	0x00002185
				MX51_PAD_UART1_CTS__UART1_CTS		0x00002185
				/* Full control lines */
				MX51_PAD_UART3_RXD__UART1_DTR		0x00002185
				MX51_PAD_UART3_TXD__UART1_DSR		0x00002185
				MX51_PAD_KEY_COL4__UART1_RI		0x00002185
				MX51_PAD_KEY_COL5__UART1_DCD		0x00002185
			>;
		};

		pinctrl_uart2: uart2grp { /* 2Wire UART2 */
			fsl,pins = <
				MX51_PAD_UART2_RXD__UART2_RXD		0x00002185
				MX51_PAD_UART2_TXD__UART2_TXD		0x00002185
			>;
		};

		pinctrl_uart3: uart3grp { /* 4Wire UART3 */
			fsl,pins = <
				MX51_PAD_EIM_D25__UART3_RXD		0x00002185
				MX51_PAD_EIM_D26__UART3_TXD		0x00002185
				MX51_PAD_EIM_D27__UART3_RTS		0x00002185
				MX51_PAD_EIM_D24__UART3_CTS		0x00002185
			>;
		};

	};
};
